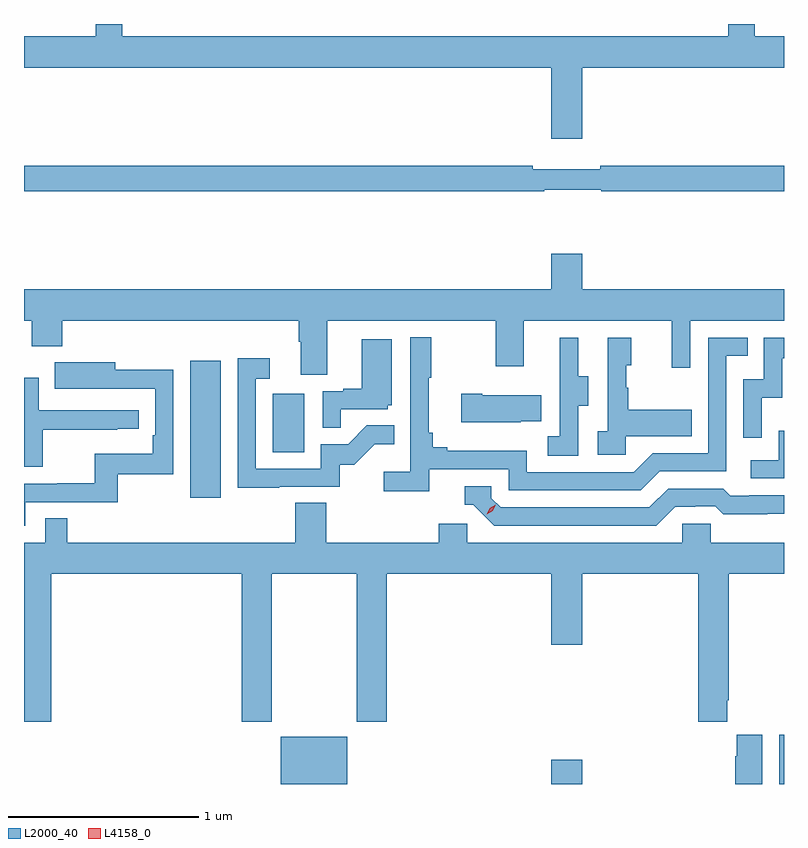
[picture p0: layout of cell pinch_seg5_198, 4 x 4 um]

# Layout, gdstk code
import gdstk
lib = gdstk.Library(unit=1e-6, precision=1e-09)
def R(c, l, rs):  # rectangles x0, y0, x1, y1
    for r in rs: c.add(gdstk.rectangle(r[:2], r[2:], *l))
def P(c, l, *ps):  # polygons
    for p in ps: c.add(gdstk.Polygon(p, *l))
L2000_40 = (2000, 40)
L4158_0 = (4158, 0)

pinch_seg5_198 = lib.new_cell('pinch_seg5_198')
R(pinch_seg5_198, L2000_40, [(990.758,907.601,991.108,907.849), (992.18,907.601,992.344,907.729), (993.38,907.601,993.406,907.861), (990.281,909.108,990.442,909.829), (990.716,909.348,990.88,909.655)])
P(pinch_seg5_198, L2000_40, [(992.344,911.372),(993.406,911.372),(993.406,911.536),(993.253,911.536),(993.253,911.601),(993.113,911.601),(993.113,911.536),(989.923,911.536),(989.923,911.601),(989.783,911.601),(989.783,911.536),(989.406,911.536),(989.406,911.372),(992.18,911.372),(992.18,910.998),(992.344,910.998)],
  [(992.145,910.728),(992.445,910.728),(992.445,910.72),(993.406,910.72),(993.406,910.856),(992.44,910.856),(992.44,910.837),(992.084,910.837),(992.084,910.856),(989.406,910.856),(989.406,910.72),(992.145,910.72)],
  [(991.003,910.04),(991.888,910.04),(991.888,909.801),(992.035,909.801),(992.035,910.04),(992.816,910.04),(992.816,909.792),(992.913,909.792),(992.913,910.04),(993.406,910.04),(993.406,910.204),(992.344,910.204),(992.344,910.393),(992.18,910.393),(992.18,910.204),(989.406,910.204),(989.406,910.04),(989.446,910.04),(989.446,909.905),(989.606,909.905),(989.606,910.04),(990.851,910.04),(990.851,909.928),(990.863,909.928),(990.863,909.754),(991.003,909.754)],
  [(991.538,909.258),(991.956,909.258),(991.956,909.147),(992.653,909.147),(992.752,909.246),(993.102,909.246),(993.102,909.855),(993.215,909.855),(993.215,909.951),(993.006,909.951),(993.006,909.342),(992.715,909.342),(992.616,909.243),(992.052,909.243),(992.052,909.355),(991.633,909.355),(991.633,909.374),(991.556,909.374),(991.556,909.451),(991.537,909.451),(991.537,909.739),(991.549,909.739),(991.549,909.952),(991.44,909.952),(991.44,909.244),(991.299,909.244),(991.299,909.142),(991.538,909.142)],
  [(993.288,909.635),(993.398,909.635),(993.398,909.843),(993.406,909.843),(993.406,909.951),(993.3,909.951),(993.3,909.732),(993.192,909.732),(993.192,909.423),(993.288,909.423)],
  [(992.574,909.431),(992.921,909.431),(992.921,909.571),(992.587,909.571),(992.587,909.686),(992.577,909.686),(992.577,909.804),(992.602,909.804),(992.602,909.949),(992.478,909.949),(992.478,909.458),(992.427,909.458),(992.427,909.333),(992.574,909.333)],
  [(992.322,909.592),(992.377,909.592),(992.377,909.747),(992.323,909.747),(992.323,909.949),(992.225,909.949),(992.225,909.735),(992.226,909.735),(992.226,909.431),(992.163,909.431),(992.163,909.328),(992.322,909.328)],
  [(991.073,909.573),(991.32,909.573),(991.32,909.594),(991.342,909.594),(991.342,909.943),(991.184,909.943),(991.184,909.682),(991.085,909.682),(991.085,909.669),(990.978,909.669),(990.978,909.475),(991.073,909.475)],
  [(990.749,909.165),(991.068,909.165),(991.068,909.282),(991.144,909.282),(991.251,909.389),(991.355,909.389),(991.355,909.488),(991.211,909.488),(991.113,909.39),(990.969,909.39),(990.969,909.261),(990.627,909.261),(990.627,909.735),(990.7,909.735),(990.7,909.841),(990.531,909.841),(990.531,909.16),(990.749,909.16)],
  [(989.412,909.084),(989.899,909.084),(989.899,909.231),(990.192,909.231),(990.192,909.782),(989.887,909.782),(989.887,909.82),(989.569,909.82),(989.569,909.68),(989.783,909.68),(989.783,909.681),(990.096,909.681),(990.096,909.436),(990.083,909.436),(990.083,909.34),(989.778,909.34),(989.778,909.185),(989.581,909.185),(989.581,909.18),(989.406,909.18),(989.406,908.961),(989.412,908.961)],
  [(989.504,909.466),(989.897,909.466),(989.897,909.471),(990.01,909.471),(990.01,909.567),(989.484,909.567),(989.484,909.739),(989.406,909.739),(989.406,909.27),(989.504,909.27)],
  [(992.021,909.509),(992.129,909.509),(992.129,909.646),(991.819,909.646),(991.819,909.654),(991.707,909.654),(991.707,909.506),(992.021,909.506)],
  [(993.406,909.46),(993.378,909.46),(993.378,909.306),(993.231,909.306),(993.231,909.21),(993.406,909.21)],
  [(992.833,909.06),(992.94,909.06),(992.94,909.063),(993.043,909.063),(993.085,909.021),(993.318,909.021),(993.318,909.023),(993.406,909.023),(993.406,909.12),(993.223,909.12),(993.223,909.117),(993.124,909.117),(993.085,909.156),(992.796,909.156),(992.697,909.057),(991.914,909.057),(991.866,909.105),(991.866,909.168),(991.727,909.168),(991.727,909.072),(991.77,909.072),(991.881,908.961),(992.734,908.961)],
  [(989.549,908.708),(990.551,908.708),(990.551,907.929),(990.711,907.929),(990.711,908.708),(991.156,908.708),(991.156,907.929),(991.316,907.929),(991.316,908.708),(992.18,908.708),(992.18,908.334),(992.344,908.334),(992.344,908.708),(992.954,908.708),(992.954,907.929),(993.107,907.929),(993.107,908.041),(993.114,908.041),(993.114,908.708),(993.406,908.708),(993.406,908.872),(993.021,908.872),(993.021,908.97),(992.871,908.97),(992.871,908.872),(991.74,908.872),(991.74,908.97),(991.589,908.97),(991.589,908.872),(990.998,908.872),(990.998,909.08),(990.833,909.08),(990.833,908.872),(989.633,908.872),(989.633,908.999),(989.517,908.999),(989.517,908.872),(989.406,908.872),(989.406,907.929),(989.549,907.929)],
  [(993.292,907.861),(993.158,907.861),(993.158,907.748),(993.149,907.748),(993.149,907.601),(993.292,907.601)])
P(pinch_seg5_198, L4158_0, [(991.841,909.02),(991.841,909.02),(991.858,909.053),(991.888,909.072),(991.889,909.072),(991.889,909.072),(991.872,909.04),(991.842,909.02)])

lib.write_gds('pinch_seg5_198.gds')
